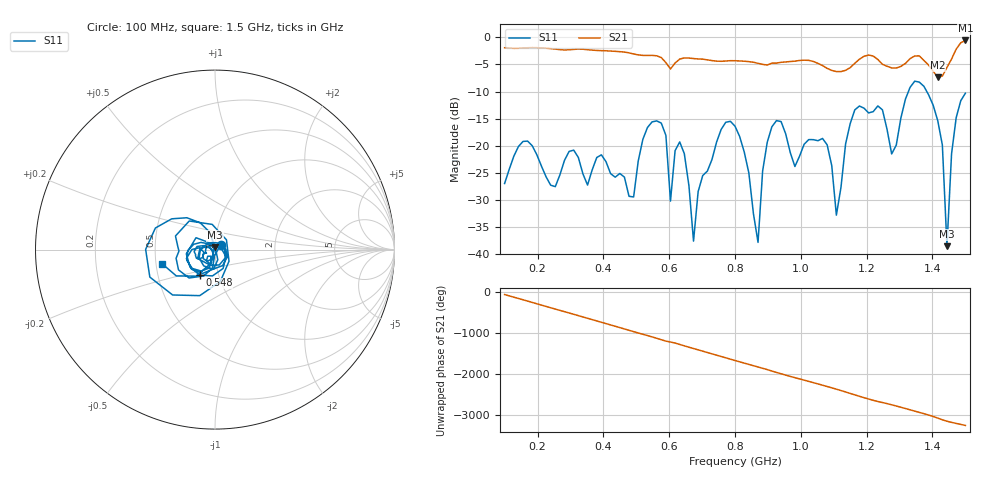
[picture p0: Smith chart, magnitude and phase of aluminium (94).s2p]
! NanoVNA-App
! Date: 2025-09-26 09:58:47
! Start: 100MHz Stop: 1,5GHz Points: 101
! S-Parameter data: F S11 S21 S12 S22
# Hz S RI R 50
!  Frequency  S11_Real  S11_Imag  S21_Real  S21_Imag  S12_Real  S12_Imag  S22_Real  S22_Imag
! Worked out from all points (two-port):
!   101 points, 100 MHz to 1.5 GHz, reference 50 ohm
!   highest |S21| = -0.57 dB at 1.5 GHz (marker M1); lowest = -7.4 dB at 1.416 GHz (marker M2)
!   |S21| within 3 dB of the highest: start of sweep to 569.3 MHz; 1.19 GHz to 1.223 GHz (32.62 MHz wide, 2.7 % of centre)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
!   lowest |S11| = -38.5 dB at 1.444 GHz (marker M3), VSWR 1.02, Z = 50 + j1.18 ohm
!   |S11| at or under -10 dB: start of sweep to 1.327 GHz; 1.383 GHz to end of sweep
!   S12 and S22 are empty: the file has one direction only
!   S11 on the Smith chart (normalised r, x): 100 MHz: 1.07, +0.06; 548 MHz: 0.81, -0.24; 1.5 GHz: 0.54, -0.09
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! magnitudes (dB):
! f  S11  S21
! 100 MHz  -27.0  -1.9
! 338 MHz  -25.2  -2.2
! 492 MHz  -29.5  -3.1
! 548 MHz  -15.6  -3.3
! 576 MHz  -15.8  -3.7
! 604 MHz  -30.2  -5.8
! 646 MHz  -21.5  -3.8
! 674 MHz  -37.6  -3.9
! 702 MHz  -25.5  -4.0
! 800 MHz  -16.4  -4.3
! 870 MHz  -37.8  -4.8
! 912 MHz  -16.5  -4.8
! 1.038 GHz  -18.9  -4.5
! 1.08 GHz  -19.8  -5.7
! 1.108 GHz  -32.8  -6.3
! 1.164 GHz  -13.4  -4.8
! 1.276 GHz  -21.5  -5.6
! 1.346 GHz  -8.1  -3.4
! 1.416 GHz  -15.4  -7.4
! 1.444 GHz  -38.5  -5.6
! 1.458 GHz  -21.5  -4.0
! 1.5 GHz  -10.3  -0.6
